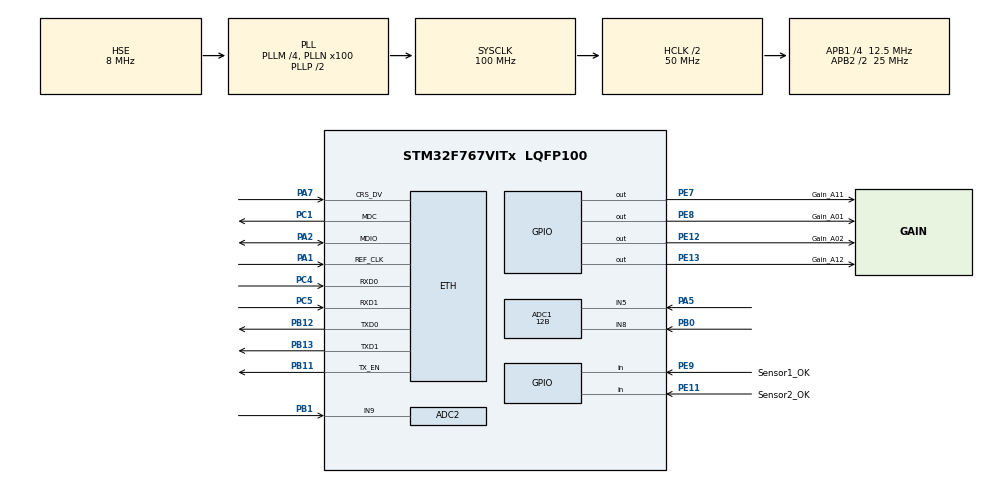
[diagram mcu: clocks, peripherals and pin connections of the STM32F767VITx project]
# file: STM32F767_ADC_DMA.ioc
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ADC1.Channel-0\#ChannelRegularConversion=ADC_CHANNEL_8
ADC1.Channel-1\#ChannelRegularConversion=ADC_CHANNEL_5
ADC1.ClockPrescaler=ADC_CLOCK_SYNC_PCLK_DIV4
ADC1.DMAContinuousRequests=ENABLE
ADC1.ExternalTrigConv=ADC_EXTERNALTRIGCONV_T1_TRGO
ADC1.NbrOfConversion=2
ADC1.NbrOfConversionFlag=1
ADC1.Rank-0\#ChannelRegularConversion=1
ADC1.Rank-1\#ChannelRegularConversion=2
ADC1.Resolution=ADC_RESOLUTION_12B
ADC1.SamplingTime-0\#ChannelRegularConversion=ADC_SAMPLETIME_15CYCLES
ADC1.SamplingTime-1\#ChannelRegularConversion=ADC_SAMPLETIME_15CYCLES
ADC1.master=1
ADC2.Channel-0\#ChannelRegularConversion=ADC_CHANNEL_9
ADC2.ClockPrescaler=ADC_CLOCK_SYNC_PCLK_DIV4
ADC2.DMAContinuousRequests=ENABLE
ADC2.ExternalTrigConv=ADC_EXTERNALTRIGCONV_T1_TRGO
ADC2.NbrOfConversionFlag=1
ADC2.Rank-0\#ChannelRegularConversion=1
ADC2.SamplingTime-0\#ChannelRegularConversion=ADC_SAMPLETIME_15CYCLES
ADC2.ScanConvMode=ADC_SCAN_ENABLE
CORTEX_M7.CPU_DCache=Enabled
CORTEX_M7.CPU_ICache=Enabled
CORTEX_M7.PREFETCH_ENABLE=1
Dma.ADC1.0.Direction=DMA_PERIPH_TO_MEMORY
Dma.ADC1.0.FIFOMode=DMA_FIFOMODE_DISABLE
Dma.ADC1.0.Instance=DMA2_Stream0
Dma.ADC1.0.MemDataAlignment=DMA_MDATAALIGN_HALFWORD
Dma.ADC1.0.MemInc=DMA_MINC_ENABLE
Dma.ADC1.0.Mode=DMA_CIRCULAR
Dma.ADC1.0.PeriphDataAlignment=DMA_PDATAALIGN_HALFWORD
Dma.ADC1.0.PeriphInc=DMA_PINC_DISABLE
Dma.ADC1.0.Priority=DMA_PRIORITY_HIGH
Dma.ADC2.1.Direction=DMA_PERIPH_TO_MEMORY
Dma.ADC2.1.FIFOMode=DMA_FIFOMODE_DISABLE
Dma.ADC2.1.Instance=DMA2_Stream2
Dma.ADC2.1.MemDataAlignment=DMA_MDATAALIGN_HALFWORD
Dma.ADC2.1.MemInc=DMA_MINC_ENABLE
Dma.ADC2.1.Mode=DMA_CIRCULAR
Dma.ADC2.1.PeriphDataAlignment=DMA_PDATAALIGN_HALFWORD
Dma.ADC2.1.PeriphInc=DMA_PINC_DISABLE
Dma.ADC2.1.Priority=DMA_PRIORITY_LOW
Dma.Request0=ADC1
Dma.Request1=ADC2
ETH.MediaInterface=HAL_ETH_RMII_MODE
ETH.PhyAddress=1
LWIP.BSP.number=1
LWIP.GATEWAY_ADDRESS=192.168.100.001
LWIP.IP_ADDRESS=192.168.100.173
LWIP.LWIP_DHCP=0
LWIP.MEM_SIZE=20480
LWIP.NETMASK_ADDRESS=255.255.255.000
LWIP.Version=v2.1.2_Cube
LWIP0.BSP.STBoard=false
LWIP0.BSP.api=BSP_COMPONENT_DRIVER
LWIP0.BSP.component=LAN8742
LWIP0.BSP.instance=LAN8742
LWIP0.BSP.name=Driver_PHY
LWIP0.BSP.semaphore=S_LAN8742
LWIP0.BSP.solution=LAN8742
Mcu.Family=STM32F7
Mcu.Name=STM32F767VITx
Mcu.Package=LQFP100
NVIC.ADC_IRQn=true\:0\:0\:false\:false\:true\:true\:true\:true
NVIC.DMA2_Stream0_IRQn=true\:0\:0\:false\:false\:true\:false\:true\:true
NVIC.DMA2_Stream2_IRQn=true\:0\:0\:false\:false\:true\:false\:true\:true
NVIC.ETH_IRQn=true\:0\:0\:false\:false\:true\:true\:true\:true
NVIC.PriorityGroup=NVIC_PRIORITYGROUP_4
NVIC.TIM1_BRK_TIM9_IRQn=true\:0\:0\:false\:false\:true\:true\:true\:true
NVIC.TIM1_TRG_COM_TIM11_IRQn=true\:0\:0\:false\:false\:true\:true\:true\:true
NVIC.TIM1_UP_TIM10_IRQn=true\:0\:0\:false\:false\:true\:true\:true\:true
PA1.Mode=RMII
PA1.Signal=ETH_REF_CLK
PA13.Mode=Serial_Wire
PA13.Signal=SYS_JTMS-SWDIO
PA14.Mode=Serial_Wire
PA14.Signal=SYS_JTCK-SWCLK
PA2.Mode=RMII
PA2.Signal=ETH_MDIO
PA5.Signal=ADCx_IN5
PA7.Mode=RMII
PA7.Signal=ETH_CRS_DV
PB0.Signal=ADCx_IN8
PB1.Signal=ADCx_IN9
PB11.Mode=RMII
PB11.Signal=ETH_TX_EN
PB12.Mode=RMII
PB12.Signal=ETH_TXD0
PB13.Mode=RMII
PB13.Signal=ETH_TXD1
PC1.Mode=RMII
PC1.Signal=ETH_MDC
PC4.Mode=RMII
PC4.Signal=ETH_RXD0
PC5.Mode=RMII
PC5.Signal=ETH_RXD1
PE11.GPIO_Label=Sensor2_OK
PE11.Signal=GPIO_Input
PE12.GPIO_Label=Gain_A02
PE12.Signal=GPIO_Output
PE13.GPIO_Label=Gain_A12
PE13.Signal=GPIO_Output
PE7.GPIO_Label=Gain_A11
PE7.Signal=GPIO_Output
PE8.GPIO_Label=Gain_A01
PE8.Signal=GPIO_Output
PE9.GPIO_Label=Sensor1_OK
PE9.Signal=GPIO_Input
PH0/OSC_IN.Mode=HSE-External-Oscillator
PH0/OSC_IN.Signal=RCC_OSC_IN
PH1/OSC_OUT.Mode=HSE-External-Oscillator
PH1/OSC_OUT.Signal=RCC_OSC_OUT
ProjectManager.HeapSize=0x2000
ProjectManager.StackSize=0x4000
ProjectManager.TargetToolchain=Makefile
RCC.AHBCLKDivider=RCC_SYSCLK_DIV2
RCC.AHBFreq_Value=50000000
RCC.APB1CLKDivider=RCC_HCLK_DIV4
RCC.APB1Freq_Value=12500000
RCC.APB1TimFreq_Value=25000000
RCC.APB2CLKDivider=RCC_HCLK_DIV2
RCC.APB2Freq_Value=25000000
RCC.APB2TimFreq_Value=50000000
RCC.CortexFreq_Value=50000000
RCC.HCLKFreq_Value=50000000
RCC.HSE_VALUE=8000000
RCC.HSI_VALUE=16000000
RCC.LSE_VALUE=32768
RCC.PLLM=4
RCC.PLLN=100
RCC.PLLSourceVirtual=RCC_PLLSOURCE_HSE
RCC.SYSCLKFreq_VALUE=100000000
RCC.SYSCLKSource=RCC_SYSCLKSOURCE_PLLCLK
RCC.USBFreq_Value=100000000
RCC.VCOOutputFreq_Value=200000000
SH.ADCx_IN5.0=ADC1_IN5,IN5
SH.ADCx_IN8.0=ADC1_IN8,IN8
SH.ADCx_IN9.0=ADC2_IN9,IN9
TIM1.Period=2 - 1
TIM1.Prescaler=108 - 1
TIM1.TIM_MasterOutputTrigger=TIM_TRGO_UPDATE
VP_LWIP_VS_Enabled.Mode=Enabled
VP_TIM1_VS_ClockSourceINT.Mode=Internal
board=custom

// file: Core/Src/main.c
/* USER CODE BEGIN Header */
/**
  ******************************************************************************
  * @file           : main.c
  * @brief          : Main program body
  ******************************************************************************
  * @attention
  *
  * <h2><center>&copy; Copyright (c) 2023 STMicroelectronics.
  * All rights reserved.</center></h2>
  *
  * This software component is licensed by ST under BSD 3-Clause license,
  * the "License"; You may not use this file except in compliance with the
  * License. You may obtain a copy of the License at:
  *                        opensource.org/licenses/BSD-3-Clause
  *
  ******************************************************************************
  */
/* USER CODE END Header */
#include "main.h"
#include "adc.h"
#include "dma.h"
#include "lwip.h"
#include "tim.h"
#include "gpio.h"

/* USER CODE BEGIN Includes */
#include "lwip/pbuf.h"
#include "lwip/udp.h"

#include "stdio.h"
#include "string.h"

/* USER CODE END Includes */

/* USER CODE BEGIN PTD */
#define false 0;
#define true 1;
enum {
  ERROR_RED = 255,
  WARNING_RED_BLUE = 64,
  WARNING_RED_GREEN = 32,
  INFO1_BLUE = 16,
  INFO2_GREEN = 8,
  INFO3_BLUE_GREEN = 4,
};
#define UDP_SYN 22
#define UDP_EOT 4
#define CHAN_ADDR 3
enum {
  UDP_TYPE_INT8 = 8,
  UDP_TYPE_DOUBLE = 16,
  UDP_TYPE_ARRAY = 32
};

extern struct netif gnetif;
#define ADC_BUF_LEN 1024
#define ADC_BUF_HALF_LEN ADC_BUF_LEN / 2
#define UDP_BUF_HALF_LEN ADC_BUF_LEN
#define UDP_BUF_LEN (ADC_BUF_LEN * 2)
#define UDP_HEAD_BUF_LEN 4
uint8_t buf_head[UDP_HEAD_BUF_LEN] = {
  UDP_SYN,
  CHAN_ADDR,
  UDP_TYPE_ARRAY,
  0,
};
// uint8_t udp_buf[UDP_BUF_LEN];
uint16_t adc_buf[ADC_BUF_LEN];
// uint16_t adc_buf_test[ADC_BUF_LEN];
//float adcVoltage[ADC_BUF_LEN];
struct udp_pcb *upcb = NULL;
static struct pbuf *txBuf = NULL;
uint8_t udp_sent_count = 0;
uint8_t udp_received_count = 0;
int APP_ERROR_CODE = 0;
int APP_ERROR_COUNT = 0;
u8_t isConnected = false;
u8_t connect = false;
u8_t connectCount = 0;
ip_addr_t remoteAddr;
u16_t remotePort = 0;
//int counter = 8;
/* USER CODE END PTD */

void SystemClock_Config(void);

/* USER CODE BEGIN 0 */
///
///
void errorLeds(int err) {
  int count = 2;
  int duration = 32;  // milles
  // ERROR
  if (err == ERROR_RED) {
    for (uint16_t i = 0; i < count; i++) {
      HAL_GPIO_TogglePin(GPIOB, GPIO_PIN_14); //LED_RED
      HAL_Delay(duration);
    }
  }
  // WARNING RED_BLUE
  if (err == WARNING_RED_BLUE) {
    for (uint16_t i = 0; i < count; i++) {
      HAL_GPIO_TogglePin(GPIOB, GPIO_PIN_14); //LED_RED
      HAL_GPIO_TogglePin(GPIOB, GPIO_PIN_7);  //LED_BLUE
      HAL_Delay(duration);
    }
  }
  // WARNING RED_GREEN
  if (err == WARNING_RED_GREEN) {
    for (uint16_t i = 0; i < count; i++) {
      HAL_GPIO_TogglePin(GPIOB, GPIO_PIN_14); //LED_RED
      HAL_GPIO_TogglePin(GPIOB, GPIO_PIN_0);  //LED_GREEN
      HAL_Delay(duration);
    }
  }
  // INFO1
  if (err == INFO1_BLUE) {
    for (uint16_t i = 0; i < count; i++) {
      HAL_GPIO_TogglePin(GPIOB, GPIO_PIN_7);  //LED_BLUE
      HAL_Delay(duration);
    }
  }
  // INFO2
  if (err == INFO2_GREEN) {
    for (uint16_t i = 0; i < count; i++) {
      HAL_GPIO_TogglePin(GPIOB, GPIO_PIN_0);  //LED_GREEN
      HAL_Delay(duration);
    }
  }
  // INFO3
  if (err == INFO3_BLUE_GREEN) {
    for (uint16_t i = 0; i < count; i++) {
      HAL_GPIO_TogglePin(GPIOB, GPIO_PIN_7);  //LED_BLUE
      HAL_GPIO_TogglePin(GPIOB, GPIO_PIN_0);  //LED_GREEN
      HAL_Delay(duration);
    }
  }
}
///
///
static void udpClientSend(void) {
  buf_head[3] = udp_sent_count;
  err_t err = pbuf_take_at(txBuf, &buf_head, UDP_HEAD_BUF_LEN, 0);
  // err_t err = pbuf_take_at(txBuf, &udp_sent_count, 1, 3);
  if (err == ERR_OK) {
    err = udp_send(upcb, txBuf);
    udp_sent_count++;
    if (err != ERR_OK) {
      APP_ERROR_CODE = WARNING_RED_BLUE;//WARNING_RED_GREEN;
    }
  } else {
      APP_ERROR_CODE = WARNING_RED_GREEN;
  }
}
///
///
void txBufClear(void) {
  if (txBuf != NULL) {
  	pbuf_free(txBuf);
  }
}
///
/// | u8  | u8   | u8   | u32   | u8[1024]  |
/// | SYN | ADDR | TYPE | count | DATA      |
/// SYN = 22 - message starts with
/// ADDR = 0...255 - an address of the signal
/// TYPE
///       8 - 1 byte integer value
///       16 - 2 byte float value
///       32 - u16[1024] an array of 2 byte values of length 512
err_t txBufPrepare(void) {
	txBuf = pbuf_alloc(PBUF_TRANSPORT, UDP_BUF_HALF_LEN + UDP_HEAD_BUF_LEN, PBUF_RAM);
  err_t err = pbuf_take_at(txBuf, &buf_head, UDP_HEAD_BUF_LEN, 0);
  if (err != ERR_OK) {
    errorLeds(WARNING_RED_GREEN);
    // APP_ERROR_CODE = WARNING_RED_BLUE;
  }
  return err;
}
///
///
static void buildBuferHalf(uint8_t half) {
  uint16_t *buf;
  if (half == 1) {
    buf = &(adc_buf[0]);
  } else {
    buf = &(adc_buf[ADC_BUF_HALF_LEN]);
  }
	if (isConnected && txBuf != NULL) {
		pbuf_take_at(
      txBuf,
      buf,
      UDP_BUF_HALF_LEN,   // length
      UDP_HEAD_BUF_LEN    // offset
    );
	  // HAL_GPIO_TogglePin(GPIOC, GPIO_PIN_10); //PC10_out
		udpClientSend();
	  // HAL_GPIO_TogglePin(GPIOC, GPIO_PIN_10); //PC10_out
    if (connect) {
      isConnected = false;
    }
  }
}
///
///
void HAL_ADC_ConvHalfCpltCallback(ADC_HandleTypeDef *hadc) {
	if (hadc->Instance == ADC1) {
	  buildBuferHalf(1);
	}
}
///
///
void HAL_ADC_ConvCpltCallback(ADC_HandleTypeDef *hadc) {
	if (hadc->Instance == ADC1) {
	  buildBuferHalf(2);
	}
}
///
///
void delayTick(int16_t ticks) {
  while (ticks > 0) {
    ticks--;
  }
}
///
///
void softReset(void) {
  errorLeds(ERROR_RED);
  NVIC_SystemReset();
  while (1) {}
}
///
///
// void HAL_TIM_PeriodElapsedCallback(TIM_HandleTypeDef *htim) {
// 	if (htim->Instance == TIM1) {
// 	  HAL_GPIO_TogglePin(GPIOC, GPIO_PIN_10); //PC10_out
// 		// HAL_GPIO_TogglePin(GPIOB, GPIO_PIN_0); //LED_GREEN
// 	  // HAL_GPIO_TogglePin(GPIOB, GPIO_PIN_7); //LED_BLUE
// //		__NOP();
// 	}
// }
///
///
void HAL_ADC_ErrorCallback (ADC_HandleTypeDef * hadc) {
  APP_ERROR_CODE = WARNING_RED_BLUE;
  HAL_ADC_Stop_DMA(&hadc1);
  HAL_ADC_Start_DMA(&hadc1, (uint32_t*)&adc_buf, ADC_BUF_LEN);
}
///
///
void ADC_DMAError (DMA_HandleTypeDef * hdma) {
  APP_ERROR_CODE = WARNING_RED_GREEN;
  HAL_ADC_Stop_DMA(&hadc1);
  HAL_ADC_Start_DMA(&hadc1, (uint32_t*)&adc_buf, ADC_BUF_LEN);
}
///
///
void udp_receive_callback(void *arg, struct udp_pcb *upcb, struct pbuf *p, const ip_addr_t *addr, u16_t port) {
  udp_received_count++;
  errorLeds(INFO2_GREEN);
	// err_t err;
  uint8_t buf[2];
  uint8_t udpSynBuf[2] = {UDP_SYN, UDP_EOT};
  if (p != NULL) {
    memcpy(buf, p->payload, 2);
    int synOk = memcmp(buf, udpSynBuf, 2);
    if (synOk == 0) {
      // isConnected = false;
      udp_sent_count = 0;
      udp_received_count = 0;
      remoteAddr = *addr;
      remotePort = port;
      connect = true;
      // txBufClear();
      // txBufPrepare();

      // err= udp_connect(upcb, addr, port);
      // APP_ERROR_CODE = INFO2_GREEN;
      // isConnected = true;
      // if (err != ERR_OK) {
      //   APP_ERROR_CODE = WARNING_RED_BLUE;
      // }
    } else {
      APP_ERROR_CODE = WARNING_RED_BLUE;
    }
  }
	pbuf_free(p);
}
///
///
void udpClientConnect(void) {
	// err_t err;
	/* 1. Create a new UDP control block  */
	upcb = udp_new();
	/* Bind the block to module's IP and port */
	ip_addr_t myIPaddr;
	IP_ADDR4(&myIPaddr, 192, 168, 100, 173);
	u16_t udpPort = 15180;
	udp_bind(upcb, &myIPaddr, udpPort);
	/* configure destination IP address and port */
	ip_addr_t DestIPaddr;
	IP_ADDR4(&DestIPaddr, 192, 168, 100, 255);
	// err= udp_connect(upcb, &DestIPaddr, udpPort);
	// if (err == ERR_OK) {
	// 	/* 2. Send message to server */
	// 	// udpClientSend();
	// 	/* 3. Set a receive callback for the upcb */
		udp_recv(upcb, udp_receive_callback, NULL);
	// } else {
  //   errorLeds(WARNING_RED_BLUE);
  //   errorLeds(WARNING_RED_BLUE);
  // }
}
///
///
void testLeds(int count) {
  if (count <= 0) {count = 1;};
  int duration = 64;  // milles
  for (uint16_t i = 0; i < count; i++) {
    HAL_GPIO_TogglePin(GPIOB, GPIO_PIN_14); //LED_RED
    HAL_Delay(duration);
    HAL_GPIO_TogglePin(GPIOB, GPIO_PIN_14); //LED_RED
    HAL_GPIO_TogglePin(GPIOB, GPIO_PIN_7);  //LED_BLUE
    HAL_Delay(duration);
    HAL_GPIO_TogglePin(GPIOB, GPIO_PIN_7);  //LED_BLUE
    HAL_GPIO_TogglePin(GPIOB, GPIO_PIN_0);  //LED_GREEN
    HAL_Delay(duration);
    HAL_GPIO_TogglePin(GPIOB, GPIO_PIN_0);  //LED_GREEN
  }
}
///
///
void handleError() {
  int e = APP_ERROR_CODE;
  APP_ERROR_CODE = 0;
  if (e >= 255) {
    APP_ERROR_COUNT++;
    if (APP_ERROR_COUNT > 3) {
      softReset();
    }
  }
  errorLeds(e);
}
/* USER CODE END 0 */

int main(void)
{

  /* Enable I-Cache---------------------------------------------------------*/
  SCB_EnableICache();

  /* Enable D-Cache---------------------------------------------------------*/
  SCB_EnableDCache();

  /* MCU Configuration--------------------------------------------------------*/

  /* Reset of all peripherals, Initializes the Flash interface and the Systick. */
  HAL_Init();

  /* Configure the system clock */
  SystemClock_Config();

  /* Initialize all configured peripherals */
  MX_GPIO_Init();
  MX_DMA_Init();
  MX_ADC1_Init();
  MX_TIM1_Init();
  MX_ADC2_Init();
  MX_LWIP_Init();
  /* USER CODE BEGIN 2 */
  // testLeds(2);
  // udpClientConnect();
  // txBufPrepare();
  // testLeds(1);
  // HAL_Delay(64);
  // HAL_TIM_Base_Start_IT(&htim1);
  // HAL_ADC_Start_DMA(&hadc1, (uint32_t*)&adc_buf, ADC_BUF_LEN);
  // APP_ERROR_CODE = INFO3_BLUE_GREEN;
  // for (uint16_t i = 0; i < ADC_BUF_LEN; i++) {
  //     adc_buf_test[i] = i;
  // }
  /* USER CODE END 2 */

  /* Infinite loop */
  /* USER CODE BEGIN WHILE */
  while (1) {
//	  HAL_GPIO_TogglePin(GPIOB, GPIO_PIN_14); //LED_RED
    // if (APP_ERROR_CODE > 0) {
    //   handleError();
    // }
    // if (connect) {
    //   if (!isConnected) {
    //     HAL_Delay(64);
    //     // testLeds(2);
    //     errorLeds(INFO3_BLUE_GREEN);
    //     errorLeds(INFO3_BLUE_GREEN);
    //     errorLeds(INFO3_BLUE_GREEN);
    //     txBufClear();
    //     err_t err = txBufPrepare();
    //     if (err == ERR_OK) {
    //       HAL_Delay(64);
    //       // udp_disconnect(upcb);
    //       // upcb->remote_ip != NULL
    //       err_t err = udp_connect(upcb, &remoteAddr, remotePort);
    //       if (err == ERR_OK) {
    //         // APP_ERROR_CODE = INFO2_GREEN;
    //         errorLeds(INFO2_GREEN);
    //         connect = false;
    //         isConnected = true;
    //       } else {
    //         errorLeds(WARNING_RED_BLUE);
    //         // APP_ERROR_CODE = WARNING_RED_GREEN;
    //       }
    //     } else {
    //       errorLeds(WARNING_RED_GREEN);
    //       // APP_ERROR_CODE = WARNING_RED_BLUE;
    //     }
    //     connectCount--;
    //     if (connectCount < 1) {
    //       connectCount = 3;
    //       connect = false;
    //     }
    //   }
    // }
	  // ethernetif_input(&gnetif);
	  // sys_check_timeouts();
    /* USER CODE END WHILE */

  }
}

void SystemClock_Config(void)
{
  RCC_OscInitTypeDef RCC_OscInitStruct = {0};
  RCC_ClkInitTypeDef RCC_ClkInitStruct = {0};

  /** Configure the main internal regulator output voltage
  */
  __HAL_RCC_PWR_CLK_ENABLE();
  __HAL_PWR_VOLTAGESCALING_CONFIG(PWR_REGULATOR_VOLTAGE_SCALE3);

  /** Initializes the RCC Oscillators according to the specified parameters
  * in the RCC_OscInitTypeDef structure.
  */
  RCC_OscInitStruct.OscillatorType = RCC_OSCILLATORTYPE_HSE;
  RCC_OscInitStruct.HSEState = RCC_HSE_ON;
  RCC_OscInitStruct.PLL.PLLState = RCC_PLL_ON;
  RCC_OscInitStruct.PLL.PLLSource = RCC_PLLSOURCE_HSE;
  RCC_OscInitStruct.PLL.PLLM = 4;
  RCC_OscInitStruct.PLL.PLLN = 100;
  RCC_OscInitStruct.PLL.PLLP = RCC_PLLP_DIV2;
  RCC_OscInitStruct.PLL.PLLQ = 2;
  RCC_OscInitStruct.PLL.PLLR = 2;
  if (HAL_RCC_OscConfig(&RCC_OscInitStruct) != HAL_OK)
  {
    Error_Handler();
  }

  /** Initializes the CPU, AHB and APB buses clocks
  */
  RCC_ClkInitStruct.ClockType = RCC_CLOCKTYPE_HCLK|RCC_CLOCKTYPE_SYSCLK
                              |RCC_CLOCKTYPE_PCLK1|RCC_CLOCKTYPE_PCLK2;
  RCC_ClkInitStruct.SYSCLKSource = RCC_SYSCLKSOURCE_PLLCLK;
  RCC_ClkInitStruct.AHBCLKDivider = RCC_SYSCLK_DIV2;
  RCC_ClkInitStruct.APB1CLKDivider = RCC_HCLK_DIV4;
  RCC_ClkInitStruct.APB2CLKDivider = RCC_HCLK_DIV2;

  if (HAL_RCC_ClockConfig(&RCC_ClkInitStruct, FLASH_LATENCY_1) != HAL_OK)
  {
    Error_Handler();
  }
}

void Error_Handler(void)
{
  __disable_irq();
  while (1)
  {
  }
}
